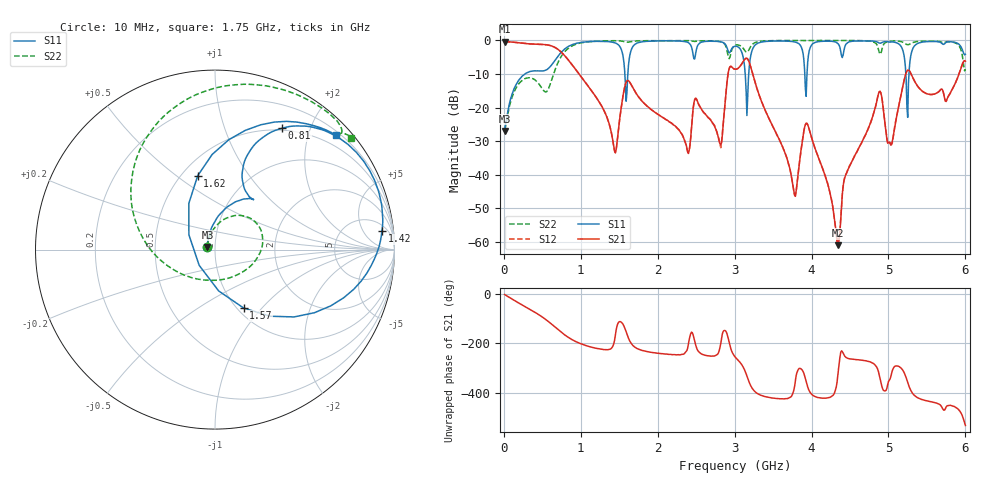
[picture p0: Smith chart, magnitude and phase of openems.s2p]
! G_pp200: Plane pair 50 × 30 mm, d = 0.2 mm, ports at a corner and the centre
! stackup: plane pair, 0.2 mm FR-4
! ports: 1 corner, 2 centre
! openEMS 0.37.0, staircase, fine mesh (dfine 0.05 mm), 490280 cells
# Hz S RI R 1
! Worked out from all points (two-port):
!   600 points, 10 MHz to 6 GHz, reference 1 ohm
!   highest |S21| = -0.38 dB at 10 MHz (marker M1); lowest = -61.0 dB at 4.34 GHz (marker M2)
!   |S21| within 3 dB of the highest: start of sweep to 740.7 MHz
!   lowest |S11| = -27.0 dB at 10 MHz (marker M3), VSWR 1.09, Z = 0.918 + j0.028 ohm
!   |S11| at or under -10 dB: start of sweep to 274.6 MHz; 1.573 GHz to 1.612 GHz (38.83 MHz wide, 2.44 % of centre); 3.138 GHz to 3.184 GHz (46.02 MHz wide, 1.46 % of centre) (the widest 3 of 5)
!   |S22| runs from -26.8 to 0.0 dB; largest |S21 - S12| = 0.0036
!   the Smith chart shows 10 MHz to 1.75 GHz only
!   S11 on the Smith chart (normalised r, x): 10 MHz: 0.92, +0.03; 810 MHz: 0.47, +1.59; 1.42 GHz: 8, +13; 1.57 GHz: 1.07, -0.80; 1.62 GHz: 0.60, +0.60; 1.75 GHz: 0.27, +2.48
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1e7  -0.0423 0.0152  0.9565 -0.0325  0.9561 -0.0315  -0.0427 0.0156
4.7e8  0.2084 0.2807  0.0494 -0.8724  0.0498 -0.8727  0.1894 -0.0996
8.1e8  0.3745 0.6764  -0.5501 -0.1006  -0.5499 -0.1  -0.4002 0.5923
1.01e9  0.7081 0.6101  -0.2609 0.1079  -0.2607 0.1079  0.0953 0.9165
1.42e9  0.93 0.1018  -0.0269 0.0151  -0.0263 0.0153  0.6374 0.7571
1.57e9  0.1594 -0.3256  -0.1437 -0.1386  -0.144 -0.1388  0.7034 0.6455
1.62e9  -0.0964 0.4116  -0.2516 -0.0056  -0.2517 -0.00612  0.6919 0.6432
1.75e9  0.6733 0.6376  -0.1053 0.0992  -0.1058 0.0994  0.7591 0.624
2.01e9  0.9004 0.3921  -0.0393 0.0677  -0.039 0.0682  0.8389 0.5319
2.81e9  0.9567 0.0318  -0.0232 0.017  -0.0215 0.0188  0.943 0.1928
3.01e9  0.8214 -0.00679  -0.0879 0.3621  -0.0906 0.362  0.7625 0.3618
3.17e9  0.0492 0.1396  0.4986 0.1696  0.4979 0.1692  0.585 0.3449
3.78e9  0.949 0.0231  0.00479 -0.00119  0.00491 -0.000991  0.9427 0.3236
3.93e9  0.1134 0.0937  0.058 0.00587  0.0577 0.00603  0.9482 0.299
4.01e9  0.7086 0.5227  0.0217 -0.0247  0.022 -0.0246  0.9544 0.2883
4.34e9  0.8998 0.0575  0.000788 0.00041  0.000788 0.000355  0.9676 0.2386
4.44e9  0.747 0.4002  -0.00253 0.00931  -0.00244 0.00948  0.9715 0.2207
4.87e9  0.9253 0.0611  0.1133 0.1134  0.1156 0.1125  0.7351 -0.0235
5.01e9  0.9447 0.00453  0.0303 0.00567  0.0281 0.00645  0.9268 0.2715
5.25e9  0.0163 0.0696  0.3613 0.0127  0.3599 0.0131  0.8447 0.1745
5.48e9  0.8872 0.3533  0.0521 -0.1557  0.0517 -0.1559  0.9591 0.1911
6e9  0.594 0.1789  -0.4856 -0.0629  -0.4833 -0.0638  0.3314 0.1682
